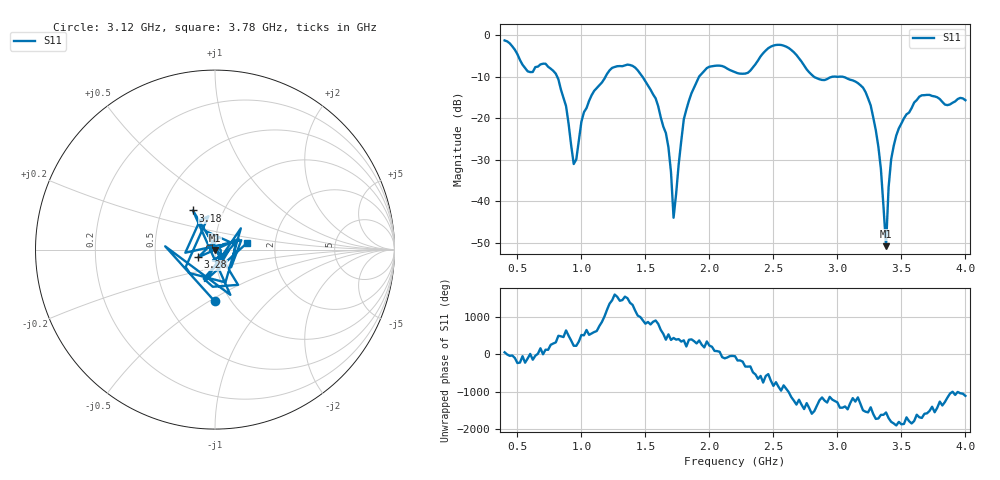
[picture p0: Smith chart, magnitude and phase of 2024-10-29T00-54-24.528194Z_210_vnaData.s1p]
!Created with skrf (http://scikit-rf.org).
# Hz S RI R 50.0
!freq ReS11 ImS11
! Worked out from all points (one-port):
!   181 points, 400 MHz to 4 GHz, reference 50 ohm
!   lowest |S11| = -50.8 dB at 3.38 GHz (marker M1), VSWR 1.01, Z = 49.9 - j0.264 ohm
!   |S11| at or under -10 dB: 811.3 MHz to 1.188 GHz (376.4 MHz wide, 37.7 % of centre); 1.478 GHz to 1.919 GHz (440.6 MHz wide, 25.9 % of centre); 3.046 GHz to end of sweep (the widest 3 of 4)
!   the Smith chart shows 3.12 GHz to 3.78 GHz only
!   S11 on the Smith chart (normalised r, x): 3.12 GHz: 0.84, -0.53; 3.18 GHz: 0.72, +0.33; 3.28 GHz: 0.83, -0.07; 3.78 GHz: 1.42, +0.10
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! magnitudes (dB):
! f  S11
! 400 MHz  -1.2
! 580 MHz  -8.7
! 780 MHz  -8.5
! 860 MHz  -15.1
! 940 MHz  -31.0
! 1.08 GHz  -14.4
! 1.3 GHz  -7.4
! 1.58 GHz  -15.2
! 1.68 GHz  -27.0
! 1.72 GHz  -43.9
! 1.76 GHz  -31.1
! 1.8 GHz  -20.2
! 1.92 GHz  -9.9
! 2.2 GHz  -8.9
! 2.5 GHz  -2.5
! 2.66 GHz  -4.1
! 2.82 GHz  -10.1
! 3.1 GHz  -10.7
! 3.12 GHz  -10.8
! 3.18 GHz  -12.0
! 3.28 GHz  -19.8
! 3.34 GHz  -32.2
! 3.38 GHz  -50.8
! 3.4 GHz  -36.6
! 3.42 GHz  -29.8
! 3.56 GHz  -18.6
! 3.78 GHz  -14.9
! 4 GHz  -15.6
